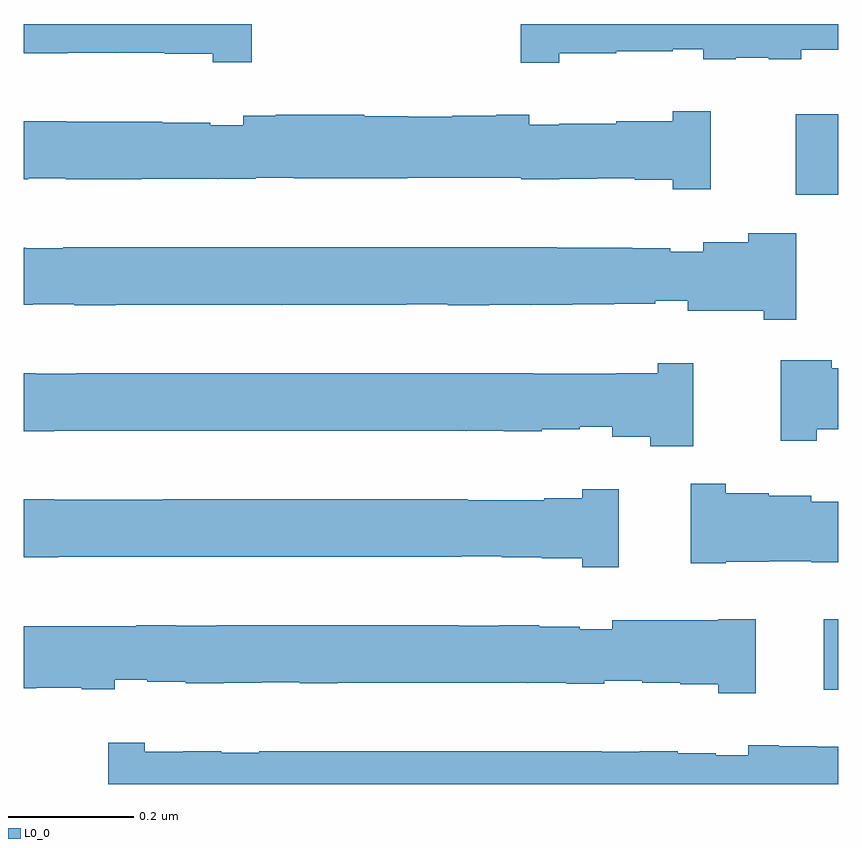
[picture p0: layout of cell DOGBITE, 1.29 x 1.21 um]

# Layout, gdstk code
import gdstk
lib = gdstk.Library(unit=1e-6, precision=1e-10)
def R(c, l, rs):  # rectangles x0, y0, x1, y1
    for r in rs: c.add(gdstk.rectangle(r[:2], r[2:], *l))
def P(c, l, *ps):  # polygons
    for p in ps: c.add(gdstk.Polygon(p, *l))
L0_0 = (0, 0)

dogbite = lib.new_cell('DOGBITE')
R(dogbite, L0_0, [(10.7615,9.5537,10.7847,9.6655), (10.7169,10.3392,10.7847,10.4669)])
P(dogbite, L0_0, [(9.6258,9.4696),(9.6841,9.4696),(9.6841,9.4552),(9.7445,9.4552),(9.7445,9.4558),(9.8049,9.4558),(9.8049,9.4538),(9.8653,9.4538),(9.8653,9.456),(9.9257,9.456),(9.9257,9.4559),(9.9861,9.4559),(9.9861,9.4558),(10.0465,9.4558),(10.0465,9.4557),(10.1069,9.4557),(10.1069,9.4556),(10.2277,9.4556),(10.2277,9.4555),(10.2881,9.4555),(10.2881,9.4554),(10.3485,9.4554),(10.3485,9.4557),(10.4089,9.4557),(10.4089,9.4546),(10.4693,9.4546),(10.4693,9.456),(10.5297,9.456),(10.5297,9.4529),(10.5901,9.4529),(10.5901,9.4494),(10.6421,9.4494),(10.6421,9.4654),(10.6901,9.4654),(10.6901,9.4641),(10.7501,9.4641),(10.7501,9.4632),(10.7847,9.4632),(10.7847,9.4038),(9.6258,9.4038)],
  [(9.5421,9.6541),(9.5421,9.654),(9.6061,9.654),(9.6061,9.6546),(9.6701,9.6546),(9.6701,9.6558),(9.7341,9.6558),(9.7341,9.6552),(9.7981,9.6552),(9.7981,9.6555),(9.9261,9.6555),(9.9261,9.6556),(10.0541,9.6556),(10.0541,9.6557),(10.1181,9.6557),(10.1181,9.6555),(10.1821,9.6555),(10.1821,9.6549),(10.2461,9.6549),(10.2461,9.6557),(10.3101,9.6557),(10.3101,9.6536),(10.3741,9.6536),(10.3741,9.6494),(10.4261,9.6494),(10.4261,9.6641),(10.5941,9.6641),(10.5941,9.6652),(10.6535,9.6652),(10.6535,9.548),(10.5941,9.548),(10.5941,9.5625),(10.5337,9.5625),(10.5337,9.5646),(10.4733,9.5646),(10.4733,9.5676),(10.4129,9.5676),(10.4129,9.5629),(10.3525,9.5629),(10.3525,9.5643),(10.2921,9.5643),(10.2921,9.5637),(10.1713,9.5637),(10.1713,9.5638),(10.0505,9.5638),(10.0505,9.5639),(9.9901,9.5639),(9.9901,9.5637),(9.9297,9.5637),(9.9297,9.5643),(9.8693,9.5643),(9.8693,9.5648),(9.8089,9.5648),(9.8089,9.5637),(9.7485,9.5637),(9.7485,9.5665),(9.6881,9.5665),(9.6881,9.5694),(9.6361,9.5694),(9.6361,9.5539),(9.5841,9.5539),(9.5841,9.5557),(9.5114,9.5557),(9.5114,9.556),(9.4916,9.556),(9.4916,9.6541)],
  [(10.7421,9.7556),(10.7421,9.7577),(10.6741,9.7577),(10.6741,9.7565),(10.6061,9.7565),(10.6061,9.7542),(10.5504,9.7542),(10.5504,9.8804),(10.6061,9.8804),(10.6061,9.8656),(10.6741,9.8656),(10.6741,9.8612),(10.7421,9.8612),(10.7421,9.8521),(10.7847,9.8521),(10.7847,9.7556)],
  [(9.5401,9.8555),(9.5401,9.8554),(9.713,9.8554),(9.713,9.8556),(9.7735,9.8556),(9.7735,9.8557),(10.0758,9.8557),(10.0758,9.8555),(10.1363,9.8555),(10.1363,9.856),(10.1967,9.856),(10.1967,9.8545),(10.2572,9.8545),(10.2572,9.8546),(10.3176,9.8546),(10.3176,9.857),(10.3781,9.857),(10.3781,9.8717),(10.436,9.8717),(10.436,9.7476),(10.3781,9.7476),(10.3781,9.7621),(10.3141,9.7621),(10.3141,9.764),(10.2501,9.764),(10.2501,9.7656),(10.1861,9.7656),(10.1861,9.7634),(10.1221,9.7634),(10.1221,9.7638),(10.0581,9.7638),(10.0581,9.7637),(9.8021,9.7637),(9.8021,9.7639),(9.7381,9.7639),(9.7381,9.7635),(9.5461,9.7635),(9.5461,9.7636),(9.4916,9.7636),(9.4916,9.8555)],
  [(9.5099,10.0556),(9.5099,10.0552),(9.5757,10.0552),(9.5757,10.0558),(9.6416,10.0558),(9.6416,10.0557),(9.7075,10.0557),(9.7075,10.0555),(9.7734,10.0555),(9.7734,10.0556),(9.8393,10.0556),(9.8393,10.0555),(10.0369,10.0555),(10.0369,10.0556),(10.1028,10.0556),(10.1028,10.0557),(10.1687,10.0557),(10.1687,10.0558),(10.2346,10.0558),(10.2346,10.0556),(10.3005,10.0556),(10.3005,10.0549),(10.3663,10.0549),(10.3663,10.0551),(10.4322,10.0551),(10.4322,10.0562),(10.4981,10.0562),(10.4981,10.0717),(10.5544,10.0717),(10.5544,9.9403),(10.4861,9.9403),(10.4861,9.9547),(10.4261,9.9547),(10.4261,9.9706),(10.3741,9.9706),(10.3741,9.9672),(10.3139,9.9672),(10.3139,9.9641),(10.2538,9.9641),(10.2538,9.9648),(10.1936,9.9648),(10.1936,9.9637),(10.1335,9.9637),(10.1335,9.9636),(10.0733,9.9636),(10.0733,9.9638),(9.8929,9.9638),(9.8929,9.9639),(9.8327,9.9639),(9.8327,9.9637),(9.7124,9.9637),(9.7124,9.9639),(9.6523,9.9639),(9.6523,9.964),(9.5921,9.964),(9.5921,9.9636),(9.5401,9.9636),(9.5401,9.964),(9.4916,9.964),(9.4916,10.0556)],
  [(10.7501,9.9667),(10.7501,9.9489),(10.6934,9.9489),(10.6934,10.0766),(10.7741,10.0766),(10.7741,10.0637),(10.7847,10.0637),(10.7847,9.9667)],
  [(9.4945,10.2547),(9.4945,10.2543),(9.5547,10.2543),(9.5547,10.2559),(9.6149,10.2559),(9.6149,10.2557),(9.7354,10.2557),(9.7354,10.2559),(9.8558,10.2559),(9.8558,10.256),(9.916,10.256),(9.916,10.2562),(10.0364,10.2562),(10.0364,10.2561),(10.217,10.2561),(10.217,10.2558),(10.2773,10.2558),(10.2773,10.2561),(10.3375,10.2561),(10.3375,10.2548),(10.3977,10.2548),(10.3977,10.2553),(10.4579,10.2553),(10.4579,10.2542),(10.5181,10.2542),(10.5181,10.2485),(10.5701,10.2485),(10.5701,10.2634),(10.6421,10.2634),(10.6421,10.2777),(10.7179,10.2777),(10.7179,10.1406),(10.6661,10.1406),(10.6661,10.1549),(10.5461,10.1549),(10.5461,10.1711),(10.4941,10.1711),(10.4941,10.1664),(10.4282,10.1664),(10.4282,10.1643),(10.3623,10.1643),(10.3623,10.1649),(10.2965,10.1649),(10.2965,10.164),(10.2306,10.164),(10.2306,10.1641),(10.1647,10.1641),(10.1647,10.1643),(10.0988,10.1643),(10.0988,10.1642),(9.9012,10.1642),(9.9012,10.1641),(9.8353,10.1641),(9.8353,10.164),(9.7694,10.164),(9.7694,10.1638),(9.6376,10.1638),(9.6376,10.1636),(9.5717,10.1636),(9.5717,10.1648),(9.5059,10.1648),(9.5059,10.1646),(9.4916,10.1646),(9.4916,10.2547)],
  [(9.5592,10.4558),(9.5592,10.455),(9.7118,10.455),(9.7118,10.4534),(9.7881,10.4534),(9.7881,10.4493),(9.8401,10.4493),(9.8401,10.4648),(9.8921,10.4648),(9.8921,10.4663),(10.0321,10.4663),(10.0321,10.4639),(10.1021,10.4639),(10.1021,10.4633),(10.1721,10.4633),(10.1721,10.4642),(10.2421,10.4642),(10.2421,10.4659),(10.2941,10.4659),(10.2941,10.4499),(10.3421,10.4499),(10.3421,10.4522),(10.4321,10.4522),(10.4321,10.456),(10.5221,10.456),(10.5221,10.4717),(10.582,10.4717),(10.582,10.3477),(10.5221,10.3477),(10.5221,10.3627),(10.4619,10.3627),(10.4619,10.3651),(10.4017,10.3651),(10.4017,10.3648),(10.3415,10.3648),(10.3415,10.3637),(10.2813,10.3637),(10.2813,10.365),(10.221,10.365),(10.221,10.3656),(10.1608,10.3656),(10.1608,10.3654),(10.1006,10.3654),(10.1006,10.3655),(9.92,10.3655),(9.92,10.3658),(9.8598,10.3658),(9.8598,10.3643),(9.7996,10.3643),(9.7996,10.364),(9.6792,10.364),(9.6792,10.3638),(9.5587,10.3638),(9.5587,10.365),(9.4985,10.365),(9.4985,10.3636),(9.4916,10.3636),(9.4916,10.4558)],
  [(9.8536,10.5493),(9.7921,10.5493),(9.7921,10.5631),(9.7152,10.5631),(9.7152,10.5649),(9.6384,10.5649),(9.6384,10.564),(9.5615,10.564),(9.5615,10.5638),(9.4916,10.5638),(9.4916,10.6102),(9.8536,10.6102)],
  [(10.7847,10.5697),(10.7261,10.5697),(10.7261,10.5541),(10.6741,10.5541),(10.6741,10.5566),(10.6221,10.5566),(10.6221,10.5542),(10.5701,10.5542),(10.5701,10.5699),(10.5221,10.5699),(10.5221,10.5667),(10.4321,10.5667),(10.4321,10.5637),(10.3421,10.5637),(10.3421,10.549),(10.2807,10.549),(10.2807,10.6102),(10.7847,10.6102)])

lib.write_gds('DOGBITE.gds')
